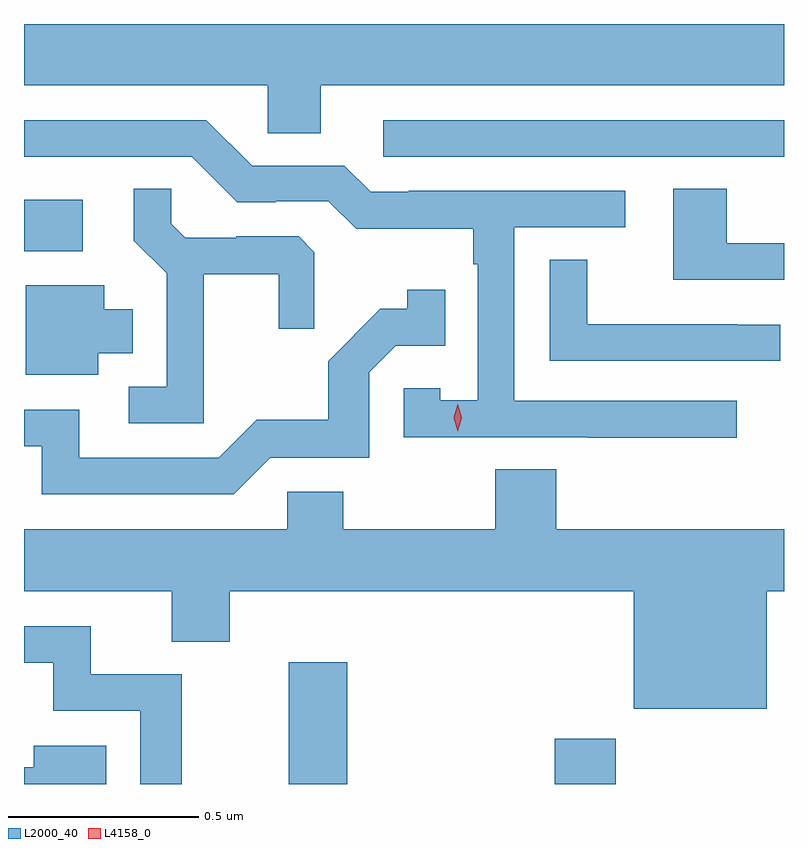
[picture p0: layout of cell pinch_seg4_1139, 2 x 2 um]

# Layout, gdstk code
import gdstk
lib = gdstk.Library(unit=1e-6, precision=1e-09)
def R(c, l, rs):  # rectangles x0, y0, x1, y1
    for r in rs: c.add(gdstk.rectangle(r[:2], r[2:], *l))
def P(c, l, *ps):  # polygons
    for p in ps: c.add(gdstk.Polygon(p, *l))
L2000_40 = (2000, 40)
L4158_0 = (4158, 0)

pinch_seg4_1139 = lib.new_cell('pinch_seg4_1139')
R(pinch_seg4_1139, L2000_40, [(425.527,794.981,425.681,795.301), (426.227,794.981,426.387,795.1), (424.83,796.383,424.984,796.519), (425.775,796.632,426.83,796.728)])
P(pinch_seg4_1139, L2000_40, [(425.611,796.82),(426.83,796.82),(426.83,796.981),(424.83,796.981),(424.83,796.82),(425.472,796.82),(425.472,796.693),(425.611,796.693)],
  [(426.706,795.99),(426.12,795.99),(426.12,796.446),(426.412,796.446),(426.412,796.542),(425.842,796.542),(425.842,796.539),(425.742,796.539),(425.673,796.608),(425.43,796.608),(425.31,796.728),(424.83,796.728),(424.83,796.632),(425.271,796.632),(425.391,796.512),(425.492,796.512),(425.492,796.515),(425.631,796.515),(425.704,796.442),(426.012,796.442),(426.012,796.349),(426.024,796.349),(426.024,795.991),(425.925,795.991),(425.925,796.023),(425.829,796.023),(425.829,795.894),(426.313,795.894),(426.313,795.892),(426.706,795.892)],
  [(426.83,796.404),(426.679,796.404),(426.679,796.547),(426.539,796.547),(426.539,796.308),(426.83,796.308)],
  [(425.303,796.322),(425.5,796.322),(425.5,796.179),(425.594,796.179),(425.594,796.381),(425.553,796.422),(425.388,796.422),(425.388,796.419),(425.254,796.419),(425.217,796.456),(425.217,796.547),(425.119,796.547),(425.119,796.411),(425.205,796.325),(425.205,796.026),(425.106,796.026),(425.106,795.93),(425.303,795.93)],
  [(426.82,796.19),(426.707,796.19),(426.707,796.191),(426.312,796.191),(426.312,796.361),(426.213,796.361),(426.213,796.095),(426.82,796.095)],
  [(425.026,796.115),(425.116,796.115),(425.116,796.231),(425.041,796.231),(425.041,796.294),(424.835,796.294),(424.835,796.058),(425.026,796.058)],
  [(425.478,795.84),(425.739,795.84),(425.739,796.065),(425.808,796.134),(425.939,796.134),(425.939,796.282),(425.838,796.282),(425.838,796.232),(425.768,796.232),(425.631,796.094),(425.631,795.939),(425.442,795.939),(425.343,795.84),(424.975,795.84),(424.975,795.966),(424.83,795.966),(424.83,795.87),(424.877,795.87),(424.877,795.744),(425.382,795.744)],
  [(426.784,795.488),(426.83,795.488),(426.83,795.652),(426.23,795.652),(426.23,795.809),(426.07,795.809),(426.07,795.652),(425.67,795.652),(425.67,795.75),(425.523,795.75),(425.523,795.652),(424.83,795.652),(424.83,795.488),(425.219,795.488),(425.219,795.355),(425.372,795.355),(425.372,795.488),(426.434,795.488),(426.434,795.179),(426.784,795.179)],
  [(425.245,795.27),(425.006,795.27),(425.006,795.396),(424.83,795.396),(424.83,795.3),(424.907,795.3),(424.907,795.174),(425.136,795.174),(425.136,794.981),(425.245,794.981)],
  [(425.047,795.082),(424.856,795.082),(424.856,795.025),(424.83,795.025),(424.83,794.981),(425.047,794.981)])
P(pinch_seg4_1139, L4158_0, [(425.971,795.909),(425.961,795.945),(425.971,795.981),(425.972,795.981),(425.972,795.981),(425.982,795.945),(425.972,795.909),(425.972,795.909)])

lib.write_gds('pinch_seg4_1139.gds')
